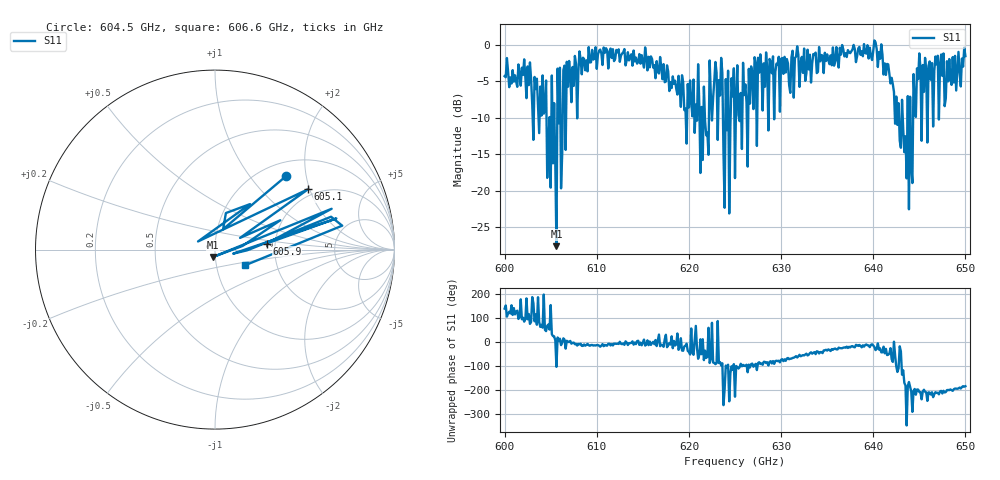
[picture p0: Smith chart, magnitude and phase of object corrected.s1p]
!Created with skrf (http://scikit-rf.org).
# GHz S MA R 50.0
!freq magS11 angS11
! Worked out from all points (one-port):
!   401 points, 600 GHz to 650 GHz, reference 50 ohm
!   lowest |S11| = -27.6 dB at 605.6 GHz (marker M1), VSWR 1.09, Z = 48.9 - j3.97 ohm
!   |S11| at or under -10 dB: 604.5479 GHz to 604.8714 GHz (323.6 MHz wide, 0.0535 % of centre); 621.7391 GHz to 622.174 GHz (434.9 MHz wide, 0.0699 % of centre); 643.2036 GHz to 643.717 GHz (513.4 MHz wide, 0.0798 % of centre) (the widest 3 of 38)
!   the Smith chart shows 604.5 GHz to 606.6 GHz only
!   S11 on the Smith chart (normalised r, x): 604.5 GHz: 1.27, +1.54; 605.1 GHz: 1.79, +1.95; 605.9 GHz: 1.80, +0.13; 606.6 GHz: 1.38, -0.25
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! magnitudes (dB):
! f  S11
! 600 GHz  -4.3
! 602.8 GHz  -2.4
! 604.2 GHz  -9.4
! 604.5 GHz  -4.9
! 605.1 GHz  -4.2
! 605.6 GHz  -27.6
! 605.9 GHz  -10.8
! 606.2 GHz  -14.9
! 606.4 GHz  -3.5
! 606.6 GHz  -14.4
! 612.5 GHz  -2.3
! 618.8 GHz  -6.8
! 619.8 GHz  -13.5
! 620.8 GHz  -8.2
! 621.5 GHz  -15.8
! 622.5 GHz  -10.4
! 623.4 GHz  -6.9
! 624.1 GHz  -11.7
! 625 GHz  -18.3
! 626.4 GHz  -16.7
! 627 GHz  -8.8
! 631.2 GHz  -0.8
! 637.5 GHz  -1.1
! 640.9 GHz  0.1
! 643.8 GHz  -7.0
! 644.1 GHz  -16.7
! 644.9 GHz  -4.7
! 650 GHz  -1.5
